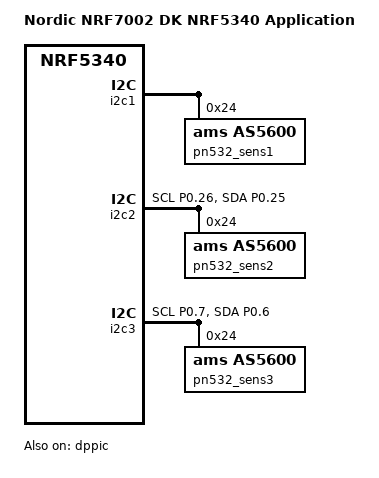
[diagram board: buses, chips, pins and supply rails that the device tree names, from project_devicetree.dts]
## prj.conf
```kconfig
#
# Copyright (c) 2021 Nordic Semiconductor ASA
#
# SPDX-License-Identifier: LicenseRef-Nordic-5-Clause
#

# Enable Memfault! 🎉
# CONFIG_MEMFAULT=y
# CONFIG_MEMFAULT_NCS_PROJECT_KEY="r0UsHLCD76uUcMscdukD6Sb2zT92bj8G"

# Wifi Credentials
CONFIG_WIFI_CREDENTIALS=y
CONFIG_WIFI_CREDENTIALS_STATIC=y
CONFIG_WIFI_CREDENTIALS_STATIC_SSID="Unknown"
CONFIG_WIFI_CREDENTIALS_STATIC_PASSWORD="iforgotthepassword"

# Configure the Memfault software_version and device_serial defaults.
# Note: in production, you will want to use memfault_ncs_device_id_set()
# to apply the real device serial on system initialization (i.e. retrieved
# from NVS, for the serial written during manufacturing)
# CONFIG_MEMFAULT_NCS_FW_TYPE="app"
# CONFIG_MEMFAULT_NCS_DEVICE_ID_STATIC=y
# CONFIG_MEMFAULT_NCS_DEVICE_ID="vish_nrf"

# Enable Memfault shell
CONFIG_SHELL=y  # Dependency for Memfault shell
# CONFIG_MEMFAULT_SHELL=y
# CONFIG_MEMFAULT_HTTP_PERIODIC_UPLOAD=y
# CONFIG_MEMFAULT_LOGGING_ENABLE=y
# CONFIG_MEMFAULT_LOG_LEVEL_DBG=y

# Enable Bluetooth
CONFIG_BT_MDS=y
# CONFIG_MEMFAULT_NCS_BT_METRICS=y
# CONFIG_MEMFAULT_NCS_STACK_METRICS=y

# Enable wifi support
CONFIG_WIFI=y
CONFIG_WIFI_NRF700X=y
CONFIG_WPA_SUPP=y
CONFIG_NET_L2_WIFI_SHELL=y
CONFIG_NET_L2_WIFI_MGMT=y

# Add to pick up support for sending Memfault data over HTTP
# CONFIG_MEMFAULT_HTTP_ENABLE=y

# General config
CONFIG_FPU=y

# Logging
CONFIG_LOG=y
CONFIG_LOG_MODE_IMMEDIATE=y

# For more verbose and detailed log output, set the log level to
# CONFIG_MEMFAULT_SAMPLE_LOG_LEVEL_DBG=y instead.
# CONFIG_MEMFAULT_SAMPLE_LOG_LEVEL_INF=y

# Network
CONFIG_NETWORKING=y
CONFIG_NET_NATIVE=y
CONFIG_NET_IPV4=y
CONFIG_NET_CONNECTION_MANAGER=y
CONFIG_NET_MGMT=y
CONFIG_NET_MGMT_EVENT=y
CONFIG_NET_MGMT_EVENT_INFO=y
CONFIG_WIFI_MGMT_EXT=y

# MQTT Helper Library
CONFIG_MQTT_HELPER=y
CONFIG_MQTT_HELPER_PROVISION_CERTIFICATES=y
CONFIG_MQTT_HELPER_SEC_TAG=201
CONFIG_MQTT_HELPER_LAST_WILL=y
CONFIG_MQTT_HELPER_STACK_SIZE=4096

# MQTT - Maximum MQTT keepalive timeout specified by AWS IoT Core
CONFIG_MQTT_KEEPALIVE=1200
CONFIG_MQTT_CLEAN_SESSION=y

# Net statistics
CONFIG_NET_STATISTICS=y
CONFIG_NET_STATISTICS_WIFI=y
CONFIG_NET_STATISTICS_USER_API=y

# DK
CONFIG_DK_LIBRARY=y

# Store coredump to flash
# CONFIG_MEMFAULT_NCS_INTERNAL_FLASH_BACKED_COREDUMP=y
# CONFIG_MEMFAULT_COREDUMP_COLLECT_BSS_REGIONS=y

# Dependencies for flash storage
CONFIG_FLASH=y
CONFIG_FLASH_MAP=y
CONFIG_STREAM_FLASH=y

# Heap and stacks
CONFIG_HEAP_MEM_POOL_SIZE=8192
CONFIG_MAIN_STACK_SIZE=8192
CONFIG_SYSTEM_WORKQUEUE_STACK_SIZE=2048
CONFIG_NET_CONNECTION_MANAGER_MONITOR_STACK_SIZE=1024
CONFIG_NET_MGMT_EVENT_STACK_SIZE=4096

# System settings
CONFIG_NEWLIB_LIBC=y
CONFIG_NEWLIB_LIBC_NANO=n

CONFIG_GPIO=y
CONFIG_I2C=y
CONFIG_NRFX_TWIM3=y

# Dependencies for AWS IoT communication
CONFIG_JSON_LIBRARY=y
CONFIG_REBOOT=y
CONFIG_HW_ID_LIBRARY=y
CONFIG_ASSERT=y
CONFIG_LOG_BUFFER_SIZE=2048

CONFIG_NET_LOG=y
CONFIG_MQTT_LOG_LEVEL_DBG=n
CONFIG_WIFI_LOG_LEVEL_DBG=n
CONFIG_PDN_LEGACY_PCO=y 
CONFIG_NET_STATISTICS=y
CONFIG_NET_IPV4=y
CONFIG_MBEDTLS=y
CONFIG_MBEDTLS_SSL_MAX_CONTENT_LEN=8192
CONFIG_TLS_CREDENTIAL_FILENAMES=y
CONFIG_NET_SOCKETS=y
CONFIG_MQTT_HELPER_SEC_TAG=201
CONFIG_AWS_IOT_TOPIC_UPDATE_DELTA_SUBSCRIBE=y
CONFIG_AWS_IOT_TOPIC_GET_ACCEPTED_SUBSCRIBE=y
CONFIG_AWS_IOT_TOPIC_GET_REJECTED_SUBSCRIBE=y
CONFIG_NET_IPV6=n
CONFIG_NET_IPV4=y
CONFIG_NET_ARP=y
CONFIG_NET_UDP=y
#CONFIG_AWS_IOT_BROKER_HOST_NAME="3.90.181.61"
CONFIG_NETWORKING=y
CONFIG_NET_IPV4=y
CONFIG_NET_DHCPV4=y
CONFIG_WIFI=y
CONFIG_AWS_IOT=y
CONFIG_LOG=y
CONFIG_NET_LOG=y
CONFIG_DNS_RESOLVER=y
```

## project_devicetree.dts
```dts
/*
 * Copyright (c) 2022 Nordic Semiconductor ASA
 *
 * SPDX-License-Identifier: LicenseRef-Nordic-5-Clause
 */

/dts-v1/;
#include <nordic/nrf5340_cpuapp_qkaa.dtsi>
#include "nrf5340_cpuapp_common.dtsi"
#include "nrf7002dk_nrf5340_cpuapp-pinctrl.dtsi"

/ {
	model = "Nordic NRF7002 DK NRF5340 Application";
	compatible = "nordic,nrf7002-dk-nrf5340-cpuapp";

	chosen {
		zephyr,sram = &sram0_image;
		zephyr,flash = &flash0;
		zephyr,code-partition = &slot0_partition;
		zephyr,sram-secure-partition = &sram0_s;
		zephyr,sram-non-secure-partition = &sram0_ns;
		zephyr,wifi = &nordic_wlan0;
	};

	nrf70_tx_power_ceiling: nrf70_tx_power_ceiling_node {
		status = "okay";
		compatible = "nordic,nrf700x-tx-power-ceiling";
		max-pwr-2g-dsss = <0x54>;
		max-pwr-2g-mcs0 = <0x40>;
		max-pwr-2g-mcs7 = <0x40>;
		max-pwr-5g-low-mcs0 = <0x24>;
		max-pwr-5g-low-mcs7 = <0x24>;
		max-pwr-5g-mid-mcs0 = <0x2C>;
		max-pwr-5g-mid-mcs7 = <0x2C>;
		max-pwr-5g-high-mcs0 = <0x34>;
		max-pwr-5g-high-mcs7 = <0x34>;
	};
};

&i2c1 {
	pn532_sens1: as5600@24 {
		compatible = "ams,as5600";
		reg = <0x24>;
	};
};

&dppic {
	status = "okay";
};
&i2c2 {
	status = "okay";
	pinctrl-0 = <&i2c2_default>;
	pinctrl-names = "default";
	pn532_sens2: as5600@24 {
		compatible = "ams,as5600";
		reg = <0x24>;
	};
};

&i2c3 {
	status = "okay";
	pinctrl-0 = <&i2c3_default>;
	pinctrl-names = "default";
	pn532_sens3: as5600@24 {
		compatible = "ams,as5600";
		reg = <0x24>;
	};
};

&pinctrl {
	i2c2_default: i2c2_default {
		group1 {
			psels = <NRF_PSEL(TWIM_SCL, 0, 26)>, <NRF_PSEL(TWIM_SDA, 0, 25)>;
		};
	};

	i2c3_default: i2c3_default {
		group1 {
			psels = <NRF_PSEL(TWIM_SCL, 0, 7)>, <NRF_PSEL(TWIM_SDA, 0, 6)>;
		};
	};
};
```

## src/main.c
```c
/*
 * Copyright (c) 2021 Nordic Semiconductor ASA
 *
 * SPDX-License-Identifier: LicenseRef-Nordic-5-Clause
 */

#include <zephyr/kernel.h>
#include <stdio.h>
#include <string.h>
#include <zephyr/net/conn_mgr_connectivity.h>
#include <zephyr/net/conn_mgr_monitor.h>

// #include <memfault/metrics/metrics.h>
// #include <memfault/ports/zephyr/http.h>
// #include <memfault/core/data_packetizer.h>
// // #include <memfault/core/trace_event.h>

#include <dk_buttons_and_leds.h>
#include <zephyr/net/mqtt.h>
#include <zephyr/net/socket.h>
#include <zephyr/sys/printk.h>
#include <zephyr/random/random.h>
#include <string.h>
#include <zephyr/posix/unistd.h>
#include <zephyr/net/net_ip.h>
#include <zephyr/net/net_if.h>
#include <zephyr/net/net_mgmt.h>

#include <zephyr/logging/log.h>
#include <zephyr/logging/log_ctrl.h>

#include <zephyr/drivers/gpio.h>
#include <zephyr/drivers/i2c.h>

#define PN532_DEBUG

#define BUZZER_PIN		30
#define LED1_PIN		7

#define BUTTON1_PIN     8
#define BUTTON2_PIN     9

#define I2C1_NODE_PN532 DT_NODELABEL(pn532_sens1)
#define I2C2_NODE_PN532 DT_NODELABEL(pn532_sens2)
#define I2C3_NODE_PN532 DT_NODELABEL(pn532_sens3)
static const struct i2c_dt_spec dev_i2c[3] = {
    I2C_DT_SPEC_GET(I2C1_NODE_PN532),
    I2C_DT_SPEC_GET(I2C2_NODE_PN532),
    I2C_DT_SPEC_GET(I2C3_NODE_PN532)
};

#define ZEPHYR_USER_NODE DT_PATH(zephyr_user)

const struct device* const gpio0_dev = DEVICE_DT_GET(DT_NODELABEL(gpio0));
const struct device* const gpio1_dev = DEVICE_DT_GET(DT_NODELABEL(gpio1));

// PN532 Command and Response constants
#define PN532_PREAMBLE              0x00
#define PN532_STARTCODE1            0x00
#define PN532_STARTCODE2            0xFF
#define PN532_POSTAMBLE             0x00

#define PN532_HOSTTOPN532           0xD4
#define PN532_PN532TOHOST           0xD5

#define PN532_COMMAND_GETFIRMWAREVERSION   0x02
#define PN532_COMMAND_SAMCONFIGURATION     0x14
#define PN532_COMMAND_INLISTPASSIVETARGET  0x4A

static uint8_t pn532ack[] = {0x00, 0x00, 0xFF, 0x00, 0xFF, 0x00};

#define CHECKRET(val, str)	do { 			\
	if (val < 0)							\
	{										\
		LOG_ERR(str);						\
	}										\
}while(0)

// LOG_MODULE_REGISTER(memfault_sample, CONFIG_MEMFAULT_SAMPLE_LOG_LEVEL);
LOG_MODULE_REGISTER(safescan, LOG_LEVEL_INF);

/* Macros used to subscribe to specific Zephyr NET management events. */
#define L4_EVENT_MASK	      (NET_EVENT_L4_CONNECTED | NET_EVENT_L4_DISCONNECTED)
#define CONN_LAYER_EVENT_MASK (NET_EVENT_CONN_IF_FATAL_ERROR)

static K_SEM_DEFINE(nw_connected_sem, 0, 1);

/* Zephyr NET management event callback structures. */
static struct net_mgmt_event_callback l4_cb;
static struct net_mgmt_event_callback conn_cb;

uint32_t rfids_connected_current[3];
uint32_t rfids_connected_start[3];
uint32_t rfids_connected_end[3];

/* MQTT broker details */
#define MQTT_BROKER_HOSTNAME "broker.hivemq.com"
#define MQTT_BROKER_PORT     1883
#define MQTT_PUB_TOPIC       "nrf7002dk/board/publish"

/* MQTT buffers */
static uint8_t rx_buffer[1024];
static uint8_t tx_buffer[1024];

/* MQTT client and broker storage */
static struct mqtt_client client;
static struct sockaddr_storage broker;
static struct pollfd fds;

/* Flag to indicate IP is ready */
static volatile bool ip_ready = false;

/* Forward declarations */
static int connect_mqtt(void);
static int publish_message(struct mqtt_client *c, const char *topic, const char *msg);

static void mqtt_evt_handler(struct mqtt_client *const c, const struct mqtt_evt *evt)
{
    switch (evt->type) {
    case MQTT_EVT_CONNACK:
        if (evt->result != 0) {
            LOG_ERR("MQTT connect failed: %d", evt->result);
            break;
        }
        LOG_INF("MQTT client connected");
        break;

    case MQTT_EVT_DISCONNECT:
        LOG_INF("MQTT client disconnected %d", evt->result);
        break;

    default:
        break;
    }
}

static int server_resolve(void)
{
    struct addrinfo *res;
    struct addrinfo hints = {
        .ai_family = AF_INET,
        .ai_socktype = SOCK_STREAM
    };

    LOG_INF("Resolving hostname %s", MQTT_BROKER_HOSTNAME);
    int err = getaddrinfo(MQTT_BROKER_HOSTNAME, NULL, &hints, &res);
    if (err) {
        LOG_ERR("Failed to resolve hostname: %d", err);
        return err;
    }

    struct sockaddr_in *broker4 = (struct sockaddr_in *)&broker;
    broker4->sin_family = AF_INET;
    broker4->sin_port = htons(MQTT_BROKER_PORT);
    memcpy(&broker4->sin_addr,
           &((struct sockaddr_in *)res->ai_addr)->sin_addr,
           sizeof(struct in_addr));

    freeaddrinfo(res);
    return 0;
}

static void client_init(struct mqtt_client *client)
{
    mqtt_client_init(client);

    client->broker = (struct sockaddr *)&broker;
    client->evt_cb = mqtt_evt_handler;
    client->client_id.utf8 = "nrf7002dk_client";
    client->client_id.size = strlen("nrf7002dk_client");
    client->password = NULL;
    client->user_name = NULL;
    client->protocol_version = MQTT_VERSION_3_1_1;

    client->rx_buf = rx_buffer;
    client->rx_buf_size = sizeof(rx_buffer);
    client->tx_buf = tx_buffer;
    client->tx_buf_size = sizeof(tx_buffer);

    client->transport.type = MQTT_TRANSPORT_NON_SECURE;
}

static int connect_mqtt(void)
{
    int err = server_resolve();
    if (err) {
        LOG_ERR("Failed to resolve broker");
        return err;
    }

    client_init(&client);

    LOG_INF("Connecting to MQTT broker...");
    err = mqtt_connect(&client);
    if (err) {
        LOG_ERR("Error in mqtt_connect: %d", err);
        return err;
    }

    fds.fd = client.transport.tcp.sock;
    fds.events = POLLIN;

    return 0;
}

static int mqtt_process(void)
{
    int err = poll(&fds, 1, mqtt_keepalive_time_left(&client));
    if (err < 0) {
        LOG_ERR("Error in poll(): %d", errno);
        return err;
    }

    err = mqtt_live(&client);
    if ((err != 0) && (err != -EAGAIN)) {
        LOG_ERR("Error in mqtt_live: %d", err);
        return err;
    }

    if ((fds.revents & POLLIN) == POLLIN) {
        err = mqtt_input(&client);
        if (err != 0) {
            LOG_ERR("Error in mqtt_input: %d", err);
            return err;
        }
    }

    if ((fds.revents & POLLERR) == POLLERR) {
        LOG_ERR("POLLERR");
        return -EIO;
    }

    if ((fds.revents & POLLNVAL) == POLLNVAL) {
        LOG_ERR("POLLNVAL");
        return -EIO;
    }

    return 0;
}

static int publish_message(struct mqtt_client *c, const char *topic, const char *msg)
{
    struct mqtt_publish_param param = {
        .message.topic.qos = MQTT_QOS_1_AT_LEAST_ONCE,
        .message.topic.topic.utf8 = (char *)topic,
        .message.topic.topic.size = strlen(topic),
        .message.payload.data = (uint8_t *)msg,
        .message.payload.len = strlen(msg),
        .message_id = sys_rand32_get(),
        .dup_flag = 0,
        .retain_flag = 0,
    };

    LOG_INF("Publishing: %s to topic: %s", msg, topic);
    return mqtt_publish(c, &param);
}

/* Event handler to detect when we have an IP address */
static void net_event_handler(struct net_mgmt_event_callback *cb,
                              uint32_t mgmt_event, struct net_if *iface)
{
    if (mgmt_event == NET_EVENT_IPV4_ADDR_ADD) {
        LOG_INF("IPv4 address assigned, network ready");
        ip_ready = true;
    }
}

static void button_handler(uint32_t button_states, uint32_t has_changed)
{
	uint32_t buttons_pressed = has_changed & button_states;

    if (buttons_pressed & DK_BTN1_MSK)
    {
        LOG_INF("REGISTER");
        memcpy(rfids_connected_start, rfids_connected_current, 3*sizeof(uint32_t));
        for(int i=0; i<3; ++i)
        {
            LOG_INF("\tConnected to reader %d: %x", i, rfids_connected_start[i]);
        }
    }
    else if (buttons_pressed & DK_BTN2_MSK)
    {
        LOG_INF("CHECK");
        memcpy(rfids_connected_end, rfids_connected_current, 3*sizeof(uint32_t));
        for(int i=0; i<3; ++i)
        {
            LOG_INF("\tConnected to reader %d: %x", i, rfids_connected_end[i]);
        }
        if(memcmp(rfids_connected_end, rfids_connected_start, 3*sizeof(uint32_t)))
        {
            LOG_INF("Some items are not accounted for!");
            gpio_pin_set(gpio0_dev, BUZZER_PIN, 1);
        }
        else
        {
            LOG_INF("All items accounted for!");
            gpio_pin_set(gpio0_dev, BUZZER_PIN, 0);
        }
    }
}

// static void on_connect(void)
// {
// #if IS_ENABLED(MEMFAULT_NCS_LTE_METRICS)
// 	uint32_t time_to_lte_connection;

// 	/* Retrieve the LTE time to connect metric. */
// 	memfault_metrics_heartbeat_timer_read(MEMFAULT_METRICS_KEY(ncs_lte_time_to_connect_ms),
// 					      &time_to_lte_connection);

// 	LOG_INF("Time to connect: %d ms", time_to_lte_connection);
// #endif /* IS_ENABLED(MEMFAULT_NCS_LTE_METRICS) */

// 	LOG_INF("Sending already captured data to Memfault");

// 	/* Trigger collection of heartbeat data. */
// 	memfault_metrics_heartbeat_debug_trigger();

// 	/* Check if there is any data available to be sent. */
// 	if (!memfault_packetizer_data_available()) {
// 		LOG_DBG("There was no data to be sent");
// 		return;
// 	}

// 	LOG_DBG("Sending stored data...");

// 	/* Send the data that has been captured to the memfault cloud.
// 	 * This will also happen periodically, with an interval that can be configured using
// 	 * CONFIG_MEMFAULT_HTTP_PERIODIC_UPLOAD_INTERVAL_SECS.
// 	 */
// 	memfault_zephyr_port_post_data();
// }

static void l4_event_handler(struct net_mgmt_event_callback *cb, uint32_t event,
			     struct net_if *iface)
{
	switch (event) {
	case NET_EVENT_L4_CONNECTED:
		LOG_INF("Network connectivity established");
		k_sem_give(&nw_connected_sem);
		break;
	case NET_EVENT_L4_DISCONNECTED:
		LOG_INF("Network connectivity lost");
		break;
	default:
		LOG_DBG("Unknown event: 0x%08X", event);
		return;
	}
}

static void connectivity_event_handler(struct net_mgmt_event_callback *cb, uint32_t event,
				       struct net_if *iface)
{
	if (event == NET_EVENT_CONN_IF_FATAL_ERROR) {
		__ASSERT(false, "Failed to connect to a network");
		return;
	}
}

static int pn532_write_command(uint8_t *cmd, uint8_t cmd_len, int i2c)
{
    uint8_t frame[8 + cmd_len];
    uint8_t checksum = 0;
    uint8_t len = cmd_len + 1; // Length of data + TFI

    int idx = 0;

    frame[idx++] = PN532_PREAMBLE;
    frame[idx++] = PN532_STARTCODE1;
    frame[idx++] = PN532_STARTCODE2;
    frame[idx++] = len;
    frame[idx++] = ~len + 1;
    frame[idx++] = PN532_HOSTTOPN532; // TFI

    checksum += PN532_HOSTTOPN532;

    // LOG_INF("Building command frame...");
    for (uint8_t i = 0; i < cmd_len; i++)
    {
        frame[idx++] = cmd[i];
        checksum += cmd[i];
        // LOG_INF("  Command Byte %d: 0x%02X", i, cmd[i]);
    }

    frame[idx++] = ~checksum + 1;
    frame[idx++] = PN532_POSTAMBLE;

    // The PN532 expects a leading 0x00 when communicating over I2C
    uint8_t buffer[1 + idx];
    buffer[0] = 0x00; // I2C Start Code
    memcpy(buffer + 1, frame, idx);

    int ret = i2c_write(dev_i2c[i2c].bus, buffer, sizeof(buffer), dev_i2c[i2c].addr);
    if (ret)
    {
        LOG_ERR("I2C write failed: %d", ret);
        return ret;
    }

    // LOG_INF("Command frame sent successfully:");
    // for (int i = 0; i < sizeof(buffer); i++)
    // {
    //     LOG_INF("  Frame Byte %d: 0x%02X", i, buffer[i]);
    // }

    return 0;
}

static bool pn532_is_ready(int i2c)
{
    uint8_t status;
    int ret;

    ret = i2c_read(dev_i2c[i2c].bus, &status, 1, dev_i2c[i2c].addr);
    if (ret)
    {
        return false;
    }

    if (status == 0x01)
    {
        return true;
    }
    else
    {
        return false;
    }
}

static bool pn532_wait_ready(uint16_t timeout_ms, int i2c)
{
    uint16_t timer = 0;

    // LOG_INF("Waiting for PN532 to be ready...");

    while (!pn532_is_ready(i2c))
    {
        k_msleep(500);
        timer += 500;
        if (timer > timeout_ms)
        {
            return false;
        }
    }

    // LOG_INF("PN532 is ready");
    return true;
}

static int pn532_read_data(uint8_t *buffer, uint8_t length, int i2c)
{
    uint8_t rx_buffer[length + 1];
    int ret;

    ret = i2c_read(dev_i2c[i2c].bus, rx_buffer, length + 1, dev_i2c[i2c].addr);
    if (ret)
    {
        LOG_ERR("I2C read failed: %d", ret);
        return ret;
    }

    // Copy data to buffer (skip the status byte)
    memcpy(buffer, rx_buffer + 1, length);

    // LOG_INF("Read data from PN532:");
    // for (int i = 0; i < length; i++)
    // {
    //     LOG_INF("  Data Byte %d: 0x%02X", i, buffer[i]);
    // }

    return 0;
}

static bool pn532_read_ack(int i2c)
{
    uint8_t ack_buffer[6];
    int ret;

    // LOG_INF("Waiting for ACK...");

    if (!pn532_wait_ready(5000, i2c))
    {
        LOG_ERR("Timeout waiting for ACK");
        return false;
    }

    ret = pn532_read_data(ack_buffer, 6, i2c);
    if (ret)
    {
        return false;
    }

    if (memcmp(ack_buffer, pn532ack, 6) == 0)
    {
        // LOG_INF("Received ACK from PN532");
        return true;
    }
    else
    {
        LOG_ERR("Invalid ACK received:");
        for (int i = 0; i < 6; i++)
        {
            LOG_INF("  ACK Byte %d: 0x%02X", i, ack_buffer[i]);
        }
        return false;
    }
}

static bool pn532_send_command_check_ack(uint8_t *cmd, uint8_t cmd_len, uint16_t timeout, int i2c)
{
    int ret;

    // LOG_INF("Sending command and checking for ACK...");

    ret = pn532_write_command(cmd, cmd_len, i2c);
    if (ret)
    {
        return false;
    }

    if (!pn532_wait_ready(timeout, i2c))
    {
        LOG_ERR("PN532 not ready after command");
        return false;
    }

    if (!pn532_read_ack(i2c))
    {
        LOG_ERR("Did not receive ACK");
        return false;
    }

    return true;
}

uint32_t pn532_get_firmware_version(int i2c)
{
    uint8_t cmd = PN532_COMMAND_GETFIRMWAREVERSION;
    uint8_t response[12];
    uint32_t version;

    LOG_INF("Requesting PN532 firmware version...");

    if (!pn532_send_command_check_ack(&cmd, 1, 1000, i2c))
    {
        LOG_ERR("Failed to send GetFirmwareVersion command");
        return 0;
    }

    if (!pn532_wait_ready(1000, i2c))
    {
        return 0;
    }

    // Read response
    int ret = pn532_read_data(response, 12, i2c);
    if (ret)
    {
        return 0;
    }

    // Parse response
    if (response[0] != 0x00 || response[1] != 0x00 || response[2] != 0xFF)
    {
        LOG_ERR("Invalid response header");
        return 0;
    }

    uint8_t len = response[3];
    uint8_t lcs = response[4];
    uint8_t tfi = response[5];

    if ((uint8_t)(len + lcs) != 0x00)
    {
        LOG_ERR("Invalid length checksum");
        return 0;
    }

    if (tfi != PN532_PN532TOHOST)
    {
        LOG_ERR("Invalid TFI");
        return 0;
    }

    uint8_t cmd_code = response[6];
    if (cmd_code != (PN532_COMMAND_GETFIRMWAREVERSION + 1))
    {
        LOG_ERR("Unexpected command response");
        return 0;
    }

    // PD0 to PD3 are the firmware version data
    version = response[7];
    version <<= 8;
    version |= response[8];
    version <<= 8;
    version |= response[9];
    version <<= 8;
    version |= response[10];

    LOG_INF("PN532 Firmware Version: 0x%08X", version);

    return version;
}

bool pn532_SAMConfig(int i2c)
{
    uint8_t cmd[4];
    cmd[0] = PN532_COMMAND_SAMCONFIGURATION;
    cmd[1] = 0x01; // Normal mode
    cmd[2] = 0x14; // Timeout 50ms * 20 = 1 second
    cmd[3] = 0x01; // Use IRQ pin (if available)

    LOG_INF("Configuring PN532 SAM...");

    if (!pn532_send_command_check_ack(cmd, 4, 1000, i2c))
    {
        LOG_ERR("Failed to send SAMConfig command");
        return false;
    }

    if (!pn532_wait_ready(1000, i2c))
    {
        return false;
    }

    // Read response
    uint8_t response[8];
    int ret = pn532_read_data(response, 8, i2c);
    if (ret)
    {
        return false;
    }

    // Check response
    if (response[6] != (PN532_COMMAND_SAMCONFIGURATION + 1))
    {
        LOG_ERR("Invalid SAMConfig response");
        return false;
    }

    LOG_INF("PN532 SAM configuration successful");
    return true;
}

bool pn532_read_passive_target_id(uint8_t *uid, uint8_t *uid_len, uint16_t timeout, int i2c)
{
    uint8_t cmd[3];
    cmd[0] = PN532_COMMAND_INLISTPASSIVETARGET;
    cmd[1] = 0x02; // Max 1 card at a time
    cmd[2] = 0x00; // 106 kbps type A (ISO14443A/MIFARE)

    // LOG_INF("Sending InListPassiveTarget command...");

    if (!pn532_send_command_check_ack(cmd, 3, timeout, i2c))
    {
        LOG_ERR("Failed to send InListPassiveTarget command");
        return false;
    }

    // Wait for response
    if (!pn532_wait_ready(timeout, i2c))
    {
        return false;
    }

    // while(!pn532_wait_ready(timeout));

    // Read response
    uint8_t response[20];
    int ret = pn532_read_data(response, sizeof(response), i2c);
    if (ret)
    {
        LOG_ERR("PN532 read failed");
        return false;
    }

    // Parse response
    if (response[6] != (PN532_COMMAND_INLISTPASSIVETARGET + 1))
    {
        LOG_ERR("Invalid InListPassiveTarget response");
        return false;
    }

    uint8_t nb_targets = response[7];
    if (nb_targets != 1)
    {
        LOG_ERR("No card detected");
        return false;
    }

    uint8_t uid_length = response[12];

    memcpy(uid, &response[13], uid_length);
    *uid_len = uid_length;

    if (!pn532_send_command_check_ack(cmd, 3, timeout, i2c))
    {
        LOG_ERR("Failed to send InListPassiveTarget command");
        return false;
    }

    return true;
}

#define FIRST_PN532     0
#define LAST_PN532      2

int main(void)
{
    gpio_pin_set(gpio0_dev, BUZZER_PIN, 0);

    static struct net_mgmt_event_callback net_cb;
    net_mgmt_init_event_callback(&net_cb, net_event_handler,
                                 NET_EVENT_IPV4_ADDR_ADD);
    net_mgmt_add_event_callback(&net_cb);

    LOG_INF("Bringing up all network interfaces...");
    if (conn_mgr_all_if_up(true)) {
        LOG_ERR("Failed to bring up network interfaces");
        return -1;
    }

    LOG_INF("Connecting all interfaces to network...");
    if (conn_mgr_all_if_connect(true)) {
        LOG_ERR("Failed to connect to network");
        return -1;
    }

    /* Wait until we actually have an IP address assigned */
    while (!ip_ready) {
        k_sleep(K_MSEC(100));
    }

    /* Now that we have an IP address and DNS servers, we can connect to MQTT */
    if (connect_mqtt()) {
        LOG_ERR("Failed to connect to MQTT broker");
        return -1;
    }

    /* Wait for the connection to establish. */
    k_sleep(K_SECONDS(3));

    int err;

	LOG_INF("Safescan has started");

	err = dk_buttons_init(button_handler);
	if (err) {
		LOG_ERR("dk_buttons_init, error: %d", err);
	}
    gpio_pin_set(gpio0_dev, BUZZER_PIN, 0);
	/* Setup handler for Zephyr NET Connection Manager events. */
	net_mgmt_init_event_callback(&l4_cb, l4_event_handler, L4_EVENT_MASK);
	net_mgmt_add_event_callback(&l4_cb);

	/* Setup handler for Zephyr NET Connection Manager Connectivity layer. */
	net_mgmt_init_event_callback(&conn_cb, connectivity_event_handler, CONN_LAYER_EVENT_MASK);
	net_mgmt_add_event_callback(&conn_cb);

	/* Connecting to the configured connectivity layer.
	 * Wi-Fi or LTE depending on the board that the sample was built for.
	 */
	LOG_INF("Bringing network interface up and connecting to the network");

	err = conn_mgr_all_if_up(true);
	if (err) {
		__ASSERT(false, "conn_mgr_all_if_up, error: %d", err);
		return err;
	}

	err = conn_mgr_all_if_connect(true);
	if (err) {
		__ASSERT(false, "conn_mgr_all_if_connect, error: %d", err);
		return err;
	}

	k_sem_take(&nw_connected_sem, K_FOREVER);
	LOG_INF("Connected to network");
	// on_connect();

	int ret;

	ret = gpio_pin_configure(gpio0_dev, BUZZER_PIN, GPIO_OUTPUT_ACTIVE);
	CHECKRET(ret, "Buzzer pin Init failed!\n");
    gpio_pin_set(gpio0_dev, BUZZER_PIN, 0);

	ret = gpio_pin_configure(gpio1_dev, LED1_PIN, GPIO_OUTPUT_ACTIVE);
	CHECKRET(ret, "LED pin Init failed!\n");

    LOG_INF("Safescan Started");

    for(int i=FIRST_PN532; i <= LAST_PN532; ++i)
    {
        ret = device_is_ready(dev_i2c[i].bus);
        while (!ret)
        {
            LOG_ERR("I2C %d not ready! Failing with error code %d", i, ret);
        }
    }
    LOG_INF("I2C bus devices are ready");

    k_msleep(100);

    for(int i = FIRST_PN532; i <= LAST_PN532; ++i)
    {
        uint32_t version = pn532_get_firmware_version(i);
        if (version == 0)
        {
            LOG_ERR("Failed to get PN532 %d firmware version", i);
        }
        else
        {
            LOG_INF("PN532 %d Firmware Version: 0x%08X", i, version);
        }

        if (!pn532_SAMConfig(i))
        {
            LOG_ERR("Failed to configure PN532 %d SAM", i);
        }
        else
        {
            LOG_INF("PN532 %d SAM configured", i);
        }
    }

    char readerstatus[3][50];

	while (1) {

		// gpio_pin_toggle(gpio1_dev, LED1_PIN);
        err = mqtt_process();
        if (err != 0) {
            /* Connection might have dropped, try reconnecting */
            LOG_INF("Reconnecting to MQTT broker...");
            k_sleep(K_SECONDS(5));
            if (connect_mqtt()) {
                LOG_ERR("Reconnection failed");
                continue;
            }
        }

        uint8_t uid[10];
        uint8_t uid_len = 0;

        for(int i = FIRST_PN532; i <= LAST_PN532; ++i)
        {
            if (pn532_read_passive_target_id(uid, &uid_len, 500, i))
            {
                if(uid_len != 4)
                {
                    LOG_ERR("Invalid UID");
                }
                uint32_t combined_uid = 0;
                for(int i=0; i<4; ++i)
                {
                    combined_uid |= (uid[3-i] << (i * 8));
                }
                rfids_connected_current[i] = combined_uid;
                // LOG_INF("Reader %d :: Tag detected! UID : %X", i, combined_uid);
                sprintf(readerstatus[i], "Reader %d :: Tag detected! UID : %X", i, combined_uid);
                LOG_INF("%s", readerstatus[i]);
                publish_message(&client, MQTT_PUB_TOPIC, readerstatus[i]);
            }
            else
            {
                // LOG_INF("Reader %d :: No tag detected", i);
                sprintf(readerstatus[i], "Reader %d :: No tag detected", i);
                LOG_INF("%s", readerstatus[i]);
                rfids_connected_current[i] = 0;
                publish_message(&client, MQTT_PUB_TOPIC, readerstatus[i]);
            }
            k_msleep(200);
        }
        k_msleep(500);
	}
    mqtt_disconnect(&client);
}
```
